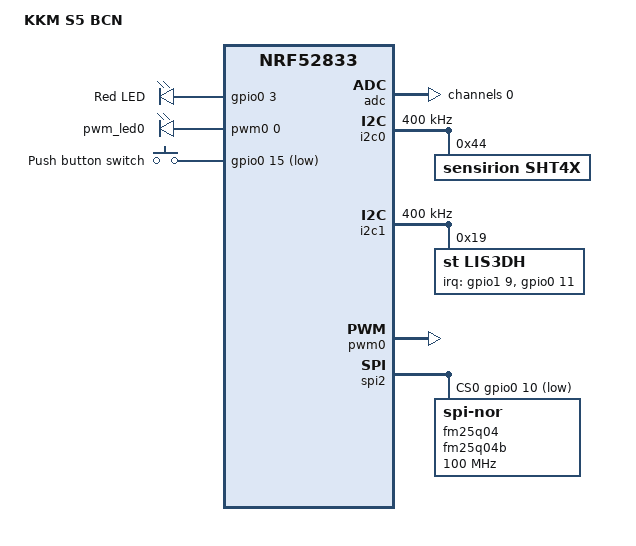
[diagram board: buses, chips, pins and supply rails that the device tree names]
/*
 * Copyright (c) Blecon Ltd
 * SPDX-License-Identifier: Apache-2.0
 */

/dts-v1/;
#include <nordic/nrf52833_qdaa.dtsi>
#include "kkm_s5_bcn-pinctrl.dtsi"
#include <zephyr/dt-bindings/input/input-event-codes.h>

/ {
	model = "KKM S5 BCN";
	compatible = "kkm,kkm-s5-bcn";

	chosen {
		zephyr,console = &uart0;
		zephyr,shell-uart = &uart0;
		zephyr,uart-mcumgr = &uart0;
		zephyr,bt-mon-uart = &uart0;
		zephyr,bt-c2h-uart = &uart0;
		zephyr,sram = &sram0;
		zephyr,flash = &flash0;
		zephyr,code-partition = &slot0_partition;
		zephyr,ieee802154 = &ieee802154;
		nordic,pm-ext-flash = &fm25q04;
	};

	leds {
		compatible = "gpio-leds";
		led0: led_0 {
			gpios = <&gpio0 3 GPIO_ACTIVE_HIGH>;
			label = "Red LED";
		};
	};

	pwmleds {
		compatible = "pwm-leds";
		pwm_led0: pwm_led_0 {
			pwms = <&pwm0 0 PWM_MSEC(20) PWM_POLARITY_NORMAL>;
		};
	};

	buttons {
		compatible = "gpio-keys";
		button0: button_0 {
			gpios = <&gpio0 15 (GPIO_PULL_UP | GPIO_ACTIVE_LOW)>;
			label = "Push button switch";
			zephyr,code = <INPUT_KEY_0>;
		};
	};

	/* These aliases are provided for compatibility with samples */
	aliases {
		led0 = &led0;
		pwm-led0 = &pwm_led0;
		sw0 = &button0;
		watchdog0 = &wdt0;
	};
};

&adc {
	status = "okay";
	#address-cells = <1>;
	#size-cells = <0>;

	channel@0 {
		reg = <0>;
		zephyr,gain = "ADC_GAIN_1_6";
		zephyr,reference = "ADC_REF_INTERNAL";
		zephyr,acquisition-time = <ADC_ACQ_TIME_DEFAULT>;
		zephyr,input-positive = <NRF_SAADC_VDD>;
		zephyr,resolution = <12>;
		zephyr,oversampling = <8>;
	};
};

&uicr {
	gpio-as-nreset;
	nfct-pins-as-gpios;
};

&gpiote {
	status = "okay";
};

&gpio0 {
	status = "okay";
	gpio-reserved-ranges = <0 2>, <6 1>, <8 1>, <17 7>;
	gpio-line-names = "XL1", "XL2", "SHT SDA", "LED", "SDA", "SCL", "",
		"", "", "SPI RXD", "SPI CS0", "INT2", "", "",
		"", "KEY", "", "SPI CLK", "RESET", "",
		"SPI TXD", "", "", "","",
		"", "", "", "", "VBAT", "", "";
};

&gpio1 {
	status = "okay";
	gpio-line-names = "", "", "", "", "", "", "", "",
		"", "", "", "INT1", "", "", "", "";
};

&uart0 {
	compatible = "nordic,nrf-uarte";
	status = "disabled";
	current-speed = <115200>;
	pinctrl-0 = <&uart0_default>;
	pinctrl-1 = <&uart0_sleep>;
	pinctrl-names = "default", "sleep";
};

&i2c0 {
	compatible = "nordic,nrf-twi";
	status = "okay";
	pinctrl-0 = <&i2c0_default>;
	pinctrl-1 = <&i2c0_sleep>;
	pinctrl-names = "default", "sleep";
	clock-frequency = <I2C_BITRATE_FAST>;

	sht4x: sht4x@44 {
		compatible = "sensirion,sht4x";
		repeatability = <1>;
		reg = <0x44>;
		status = "okay";
	};
};

&i2c1 {
	compatible = "nordic,nrf-twi";
	status = "okay";
	pinctrl-0 = <&i2c1_default>;
	pinctrl-1 = <&i2c1_sleep>;
	pinctrl-names = "default", "sleep";
	clock-frequency = <I2C_BITRATE_FAST>;

	lis3dh: lis3dh@19 {
		compatible = "st,lis3dh", "st,lis2dh";
		reg = <0x19>;
		irq-gpios = <&gpio1 9 GPIO_ACTIVE_HIGH>, <&gpio0 11 GPIO_ACTIVE_HIGH>;
		int1-gpio-config = <1>;
		int2-gpio-config = <1>;
		status = "okay";
	};
};

&pwm0 {
	status = "okay";
	pinctrl-0 = <&pwm0_default>;
	pinctrl-1 = <&pwm0_sleep>;
	pinctrl-names = "default", "sleep";
};

&flash0 {
	partitions {
		compatible = "fixed-partitions";
		#address-cells = <1>;
		#size-cells = <1>;

		boot_partition: partition@0 {
			label = "mcuboot";
			reg = <0x00000000 0xC000>;
		};
		slot0_partition: partition@c000 {
			label = "image-0";
			reg = <0x0000C000 0x37000>;
		};
		slot1_partition: partition@43000 {
			label = "image-1";
			reg = <0x00043000 0x37000>;
		};
		storage_partition: partition@7a000 {
			label = "storage";
			reg = <0x0007A000 0x00006000>;
		};
	};
};

&spi2 {
        status = "okay";

        pinctrl-0 = <&spi2_default>;
        pinctrl-1 = <&spi2_sleep>;
        pinctrl-names = "default", "sleep";
		cs-gpios = <&gpio0 10 GPIO_ACTIVE_LOW>;

        fm25q04: fm25q04b@0 {
                compatible = "jedec,spi-nor";
                reg = <0>;
                spi-max-frequency = <100000000>;
                jedec-id = [a1 40 13];
                sfdp-bfp = [
                        e5 20 f1 ff  ff ff 3f 00  44 eb 08 6b  08 3b 80 bb
                        fe ff ff ff  ff ff 00 00  ff ff 08 eb  0c 20 0f 52
                        10 d8 00 00
                ];
                size = <4194304>;
                has-dpd;
                t-enter-dpd = <3000>;
                t-exit-dpd = <3000>;
				status = "okay";
        };
};
